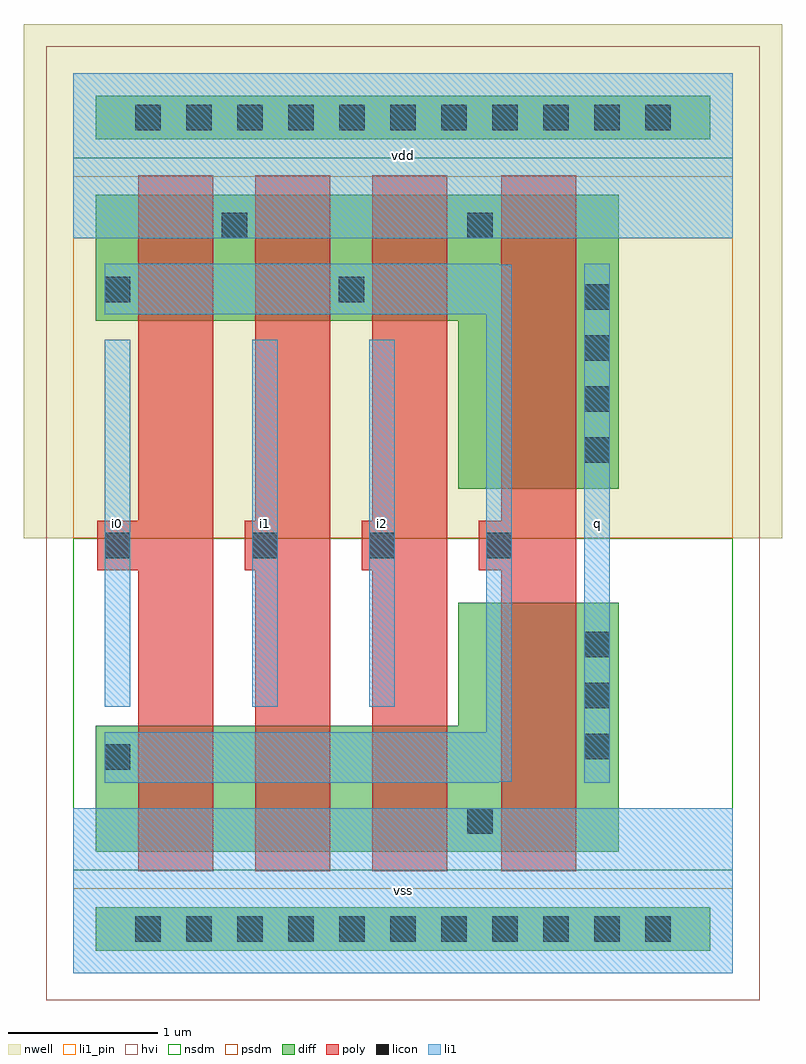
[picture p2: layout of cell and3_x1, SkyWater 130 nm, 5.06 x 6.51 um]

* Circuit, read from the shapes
.subckt and3_x1 i0 i1 i2 q vdd vss
XM1 n1 i0 n2 VSUBS sky130_fd_pr__nfet_g5v0d10v5 w=0.84 l=0.5
XM2 n3 i1 n1 VSUBS sky130_fd_pr__nfet_g5v0d10v5 w=0.84 l=0.5
XM3 vss i2 n3 VSUBS sky130_fd_pr__nfet_g5v0d10v5 w=0.84 l=0.5
XM4 q n2 vss VSUBS sky130_fd_pr__nfet_g5v0d10v5 w=1.66 l=0.5
XM5 vdd i0 n2 n4 sky130_fd_pr__pfet_g5v0d10v5 w=0.84 l=0.5
XM6 n2 i1 vdd n4 sky130_fd_pr__pfet_g5v0d10v5 w=0.84 l=0.5
XM7 vdd i2 n2 n4 sky130_fd_pr__pfet_g5v0d10v5 w=0.84 l=0.5
XM8 q n2 vdd n4 sky130_fd_pr__pfet_g5v0d10v5 w=1.96 l=0.5
.ends

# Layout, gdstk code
import gdstk
lib = gdstk.Library(unit=1e-6, precision=1e-09)
def R(c, l, rs):  # rectangles x0, y0, x1, y1
    for r in rs: c.add(gdstk.rectangle(r[:2], r[2:], *l))
def A(c, l, x, y, w, h, nx, ny, dx, dy):  # array of equal rectangles
    R(c, l, [(x+i*dx, y+j*dy, x+i*dx+w, y+j*dy+h) for i in range(nx) for j in range(ny)])
def P(c, l, *ps):  # polygons
    for p in ps: c.add(gdstk.Polygon(p, *l))
nwell = (64, 20)
diff = (65, 20)
poly = (66, 20)
licon = (66, 44)
li1_pin = (67, 16)
li1 = (67, 20)
hvi = (75, 20)
nsdm = (93, 44)
psdm = (94, 20)

and3_x1 = lib.new_cell('and3_x1')
R(and3_x1, nwell, [(-0.33,2.9,4.73,6.33)])
R(and3_x1, diff, [(0.15,0.15,4.25,0.44), (0.15,5.56,4.25,5.85)])
P(and3_x1, diff, [(0.15,0.81),(0.15,1.65),(2.57,1.65),(2.57,2.47),(3.64,2.47),(3.64,0.81)],
  [(2.57,3.23),(2.57,4.35),(0.15,4.35),(0.15,5.19),(3.64,5.19),(3.64,3.23)])
P(and3_x1, poly, [(2.855,0.68),(2.855,2.685),(2.705,2.685),(2.705,3.015),(2.855,3.015),(2.855,5.32),(3.355,5.32),(3.355,0.68)],
  [(0.435,0.68),(0.435,2.685),(0.16,2.685),(0.16,3.015),(0.435,3.015),(0.435,5.32),(0.935,5.32),(0.935,0.68)],
  [(1.215,0.68),(1.215,2.685),(1.145,2.685),(1.145,3.015),(1.215,3.015),(1.215,5.32),(1.715,5.32),(1.715,0.68)],
  [(1.995,0.68),(1.995,2.685),(1.925,2.685),(1.925,3.015),(1.995,3.015),(1.995,5.32),(2.495,5.32),(2.495,0.68)])
A(and3_x1, licon, 0.415, 0.21, 0.17, 0.17, 11, 2, 0.34, 5.41)
A(and3_x1, licon, 3.41, 1.425, 0.17, 0.17, 1, 3, 0, 0.34)
A(and3_x1, licon, 1.195, 2.765, 0.17, 0.17, 3, 1, 0.78, 0)
A(and3_x1, licon, 3.41, 3.405, 0.17, 0.17, 1, 4, 0, 0.34)
R(and3_x1, licon, [(2.63,0.93,2.8,1.1), (0.21,1.355,0.38,1.525), (0.21,2.765,0.38,2.935), (0.21,4.475,0.38,4.645), (1.77,4.475,1.94,4.645), (0.99,4.9,1.16,5.07), (2.63,4.9,2.8,5.07)])
R(and3_x1, li1_pin, [(0,0,4.4,1.1), (3.41,1.27,3.58,4.73), (0.21,1.775,0.38,4.225), (1.195,1.775,1.365,4.225), (1.975,1.775,2.145,4.225), (0,4.9,4.4,6)])
R(and3_x1, li1, [(0,0,4.4,1.1), (3.41,1.27,3.58,4.73), (0.21,1.775,0.38,4.225), (1.195,1.775,1.365,4.225), (1.975,1.775,2.145,4.225), (0,4.9,4.4,6)])
P(and3_x1, li1, [(0.21,1.27),(0.21,1.605),(2.755,1.605),(2.755,4.395),(0.21,4.395),(0.21,4.73),(2.84,4.73),(2.84,4.725),(2.925,4.725),(2.925,1.275),(2.84,1.275),(2.84,1.27)])
R(and3_x1, hvi, [(-0.18,-0.18,4.58,6.18)])
R(and3_x1, nsdm, [(0,0.685,4.4,2.9), (0,5.435,4.4,6)])
R(and3_x1, psdm, [(0,0,4.4,0.565), (0,2.9,4.4,5.315)])
and3_x1.add(gdstk.Label('vdd', (2.2,5.45), layer=67, texttype=16))
and3_x1.add(gdstk.Label('vss', (2.2,0.55), layer=67, texttype=16))
and3_x1.add(gdstk.Label('i0', (0.295,3), layer=67, texttype=16))
and3_x1.add(gdstk.Label('i1', (1.28,3), layer=67, texttype=16))
and3_x1.add(gdstk.Label('i2', (2.06,3), layer=67, texttype=16))
and3_x1.add(gdstk.Label('q', (3.495,3), layer=67, texttype=16))

lib.write_gds('and3_x1.gds')
